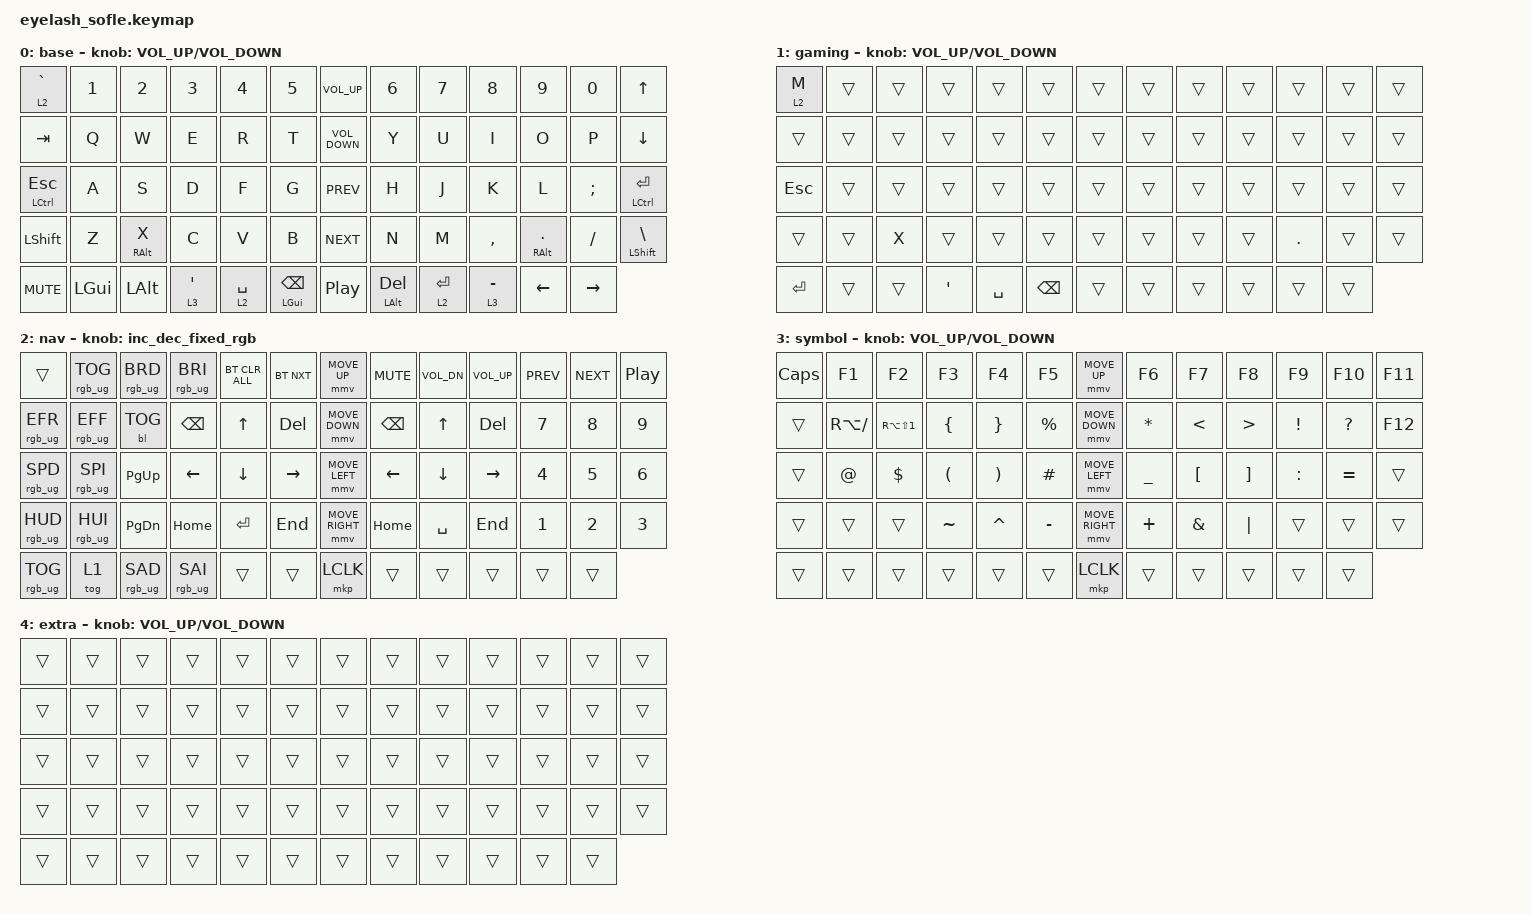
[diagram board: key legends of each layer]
#define ZMK_POINTING_DEFAULT_MOVE_VAL 1200  // 600
#define ZMK_POINTING_DEFAULT_SCRL_VAL 25   // 10

#include <input/processors.dtsi>
#include <zephyr/dt-bindings/input/input-event-codes.h>
#include <behaviors.dtsi>
#include <dt-bindings/zmk/backlight.h>
#include <dt-bindings/zmk/bt.h>
#include <dt-bindings/zmk/keys.h>
#include <dt-bindings/zmk/pointing.h>
#include <dt-bindings/zmk/rgb.h>

&mmv_input_listener { input-processors = <&zip_xy_scaler 2 1>; };

&msc_input_listener { input-processors = <&zip_scroll_scaler 2 1>; };

&msc {
    acceleration-exponent = <1>;      // 0
    time-to-max-speed-ms = <100>;       // 300
    delay-ms = <0>;                   // 0
};

&mmv {
    time-to-max-speed-ms = <500>;
    acceleration-exponent = <1>;
    trigger-period-ms = <16>;
};

&soft_off { hold-time-ms = <2000>; };

/ {
    scroll_encoder: scroll_encoder {
        compatible = "zmk,behavior-sensor-rotate";
        #sensor-binding-cells = <0>;
        bindings = <&msc SCRL_DOWN>, <&msc SCRL_UP>;

        tap-ms = <100>;
    };

    ltquicktap: ltquicktap {
        compatible = "zmk,behavior-hold-tap";
        label = "LTQUICKTAP";
        bindings = <&mo>, <&kp>;

        #binding-cells = <2>;
        quick-tap-ms = <300>;
        tapping-term-ms = <300>;
        flavor = "tap-preferred";
    };

    mtquicktap: mtquicktap {
        compatible = "zmk,behavior-hold-tap";
        label = "MTQUICKTAP";
        bindings = <&kp>, <&kp>;

        #binding-cells = <2>;
        tapping-term-ms = <300>;
        quick-tap-ms = <300>;
        flavor = "tap-preferred";
    };

    inc_dec_rgb: inc_dec_rgb {
        compatible = "zmk,behavior-sensor-rotate-var";
        label = "INC_DEC_RGB";
        #sensor-binding-cells = <2>;
        bindings = <&rgb_ug>, <&rgb_ug>;

        tap-ms = <100>;
    };

    inc_dec_fixed_rgb: inc_dec_fixed_rgb {
        compatible = "zmk,behavior-sensor-rotate";
        label = "INC_DEC_FIXED_RGB";
        #sensor-binding-cells = <0>;
        bindings = <&rgb_ug RGB_BRI>, <&rgb_ug RGB_BRD>;

        tap-ms = <100>;
    };

    behaviors {
    };

    combos {
        compatible = "zmk,combos";

        softoff {
            bindings = <&soft_off>;
            key-positions = <57 56 55>;
        };
    };

    keymap {
        compatible = "zmk,keymap";

        base {
            bindings = <
&ltquicktap 2 GRAVE              &kp N1        &kp N2                   &kp N3                      &kp N4               &kp N5                            &kp C_VOLUME_UP    &kp N6                       &kp N7               &kp N8               &kp N9                        &kp N0     &kp UP_ARROW
&kp TAB                          &kp Q         &kp W                    &kp E                       &kp R                &kp T                             &kp C_VOLUME_DOWN  &kp Y                        &kp U                &kp I                &kp O                         &kp P      &kp DOWN_ARROW
&mtquicktap LEFT_CONTROL ESCAPE  &kp A         &kp S                    &kp D                       &kp F                &kp G                             &kp C_PREV         &kp H                        &kp J                &kp K                &kp L                         &kp SEMI   &mtquicktap LCTRL ENTER
&kp LSHFT                        &kp Z         &mtquicktap RIGHT_ALT X  &kp C                       &kp V                &kp B                             &kp C_NEXT         &kp N                        &kp M                &kp COMMA            &mtquicktap RIGHT_ALT PERIOD  &kp FSLH   &mtquicktap LEFT_SHIFT BACKSLASH
&kp C_MUTE                       &kp LEFT_GUI  &kp LEFT_ALT             &ltquicktap 3 SINGLE_QUOTE  &ltquicktap 2 SPACE  &mtquicktap LEFT_GUI BACKSPACE    &kp C_PP           &mtquicktap LEFT_ALT DELETE  &ltquicktap 2 ENTER  &ltquicktap 3 MINUS  &kp LEFT_ARROW                &kp RIGHT
            >;

            sensor-bindings = <&inc_dec_kp C_VOLUME_UP C_VOLUME_DOWN>;
            display-name = "base";
        };

        gaming {
            bindings = <
&ltquicktap 2 M  &trans  &trans  &trans            &trans     &trans           &trans  &trans  &trans  &trans  &trans      &trans  &trans
&trans           &trans  &trans  &trans            &trans     &trans           &trans  &trans  &trans  &trans  &trans      &trans  &trans
&kp ESCAPE       &trans  &trans  &trans            &trans     &trans           &trans  &trans  &trans  &trans  &trans      &trans  &trans
&trans           &trans  &kp X   &trans            &trans     &trans           &trans  &trans  &trans  &trans  &kp PERIOD  &trans  &trans
&kp ENTER        &trans  &trans  &kp SINGLE_QUOTE  &kp SPACE  &kp BACKSPACE    &trans  &trans  &trans  &trans  &trans      &trans
            >;

            display-name = "gaming";
            sensor-bindings = <&inc_dec_kp C_VOLUME_UP C_VOLUME_DOWN>;
        };

        nav {
            bindings = <
&trans           &rgb_ug RGB_TOG  &rgb_ug RGB_BRD  &rgb_ug RGB_BRI  &bt BT_CLR_ALL  &bt BT_NXT    &mmv MOVE_UP     &kp C_MUTE      &kp C_VOL_DN  &kp C_VOLUME_UP  &kp C_PREV    &kp C_NEXT    &kp C_PLAY_PAUSE
&rgb_ug RGB_EFR  &rgb_ug RGB_EFF  &bl BL_TOG       &kp BACKSPACE    &kp UP_ARROW    &kp DELETE    &mmv MOVE_DOWN   &kp BACKSPACE   &kp UP_ARROW  &kp DELETE       &kp NUMBER_7  &kp NUMBER_8  &kp NUMBER_9
&rgb_ug RGB_SPD  &rgb_ug RGB_SPI  &kp PAGE_UP      &kp LEFT         &kp DOWN_ARROW  &kp RIGHT     &mmv MOVE_LEFT   &kp LEFT_ARROW  &kp DOWN      &kp RIGHT        &kp NUMBER_4  &kp NUMBER_5  &kp NUMBER_6
&rgb_ug RGB_HUD  &rgb_ug RGB_HUI  &kp PAGE_DOWN    &kp HOME         &kp ENTER       &kp END       &mmv MOVE_RIGHT  &kp HOME        &kp SPACE     &kp END          &kp NUMBER_1  &kp NUMBER_2  &kp NUMBER_3
&rgb_ug RGB_TOG  &tog 1           &rgb_ug RGB_SAD  &rgb_ug RGB_SAI  &trans          &trans        &mkp LCLK        &trans          &trans        &trans           &trans        &trans
            >;

            display-name = "nav";
            sensor-bindings = <&inc_dec_fixed_rgb>;
        };

        symbol {
            bindings = <
&kp CAPS  &kp F1         &kp F2          &kp F3                &kp F4                 &kp F5         &mmv MOVE_UP     &kp F6          &kp F7            &kp F8             &kp F9           &kp F10       &kp F11
&trans    &kp RA(SLASH)  &kp RA(LS(N1))  &kp LEFT_BRACE        &kp RIGHT_BRACE        &kp PERCENT    &mmv MOVE_DOWN   &kp ASTERISK    &kp LESS_THAN     &kp GREATER_THAN   &kp EXCLAMATION  &kp QUESTION  &kp F12
&trans    &kp AT_SIGN    &kp DOLLAR      &kp LEFT_PARENTHESIS  &kp RIGHT_PARENTHESIS  &kp HASH       &mmv MOVE_LEFT   &kp UNDERSCORE  &kp LEFT_BRACKET  &kp RIGHT_BRACKET  &kp COLON        &kp EQUAL     &trans
&trans    &trans         &trans          &kp TILDE             &kp CARET              &kp MINUS      &mmv MOVE_RIGHT  &kp PLUS        &kp AMPERSAND     &kp PIPE           &trans           &trans        &trans
&trans    &trans         &trans          &trans                &trans                 &trans         &mkp LCLK        &trans          &trans            &trans             &trans           &trans
            >;

            display-name = "symbol";
            sensor-bindings = <&inc_dec_kp C_VOLUME_UP C_VOLUME_DOWN>;
        };

        extra {
            bindings = <
&trans  &trans  &trans  &trans  &trans  &trans    &trans  &trans  &trans  &trans  &trans  &trans  &trans
&trans  &trans  &trans  &trans  &trans  &trans    &trans  &trans  &trans  &trans  &trans  &trans  &trans
&trans  &trans  &trans  &trans  &trans  &trans    &trans  &trans  &trans  &trans  &trans  &trans  &trans
&trans  &trans  &trans  &trans  &trans  &trans    &trans  &trans  &trans  &trans  &trans  &trans  &trans
&trans  &trans  &trans  &trans  &trans  &trans    &trans  &trans  &trans  &trans  &trans  &trans
            >;

            display-name = "extra";
            sensor-bindings = <&inc_dec_kp C_VOLUME_UP C_VOLUME_DOWN>;
        };
    };
};
